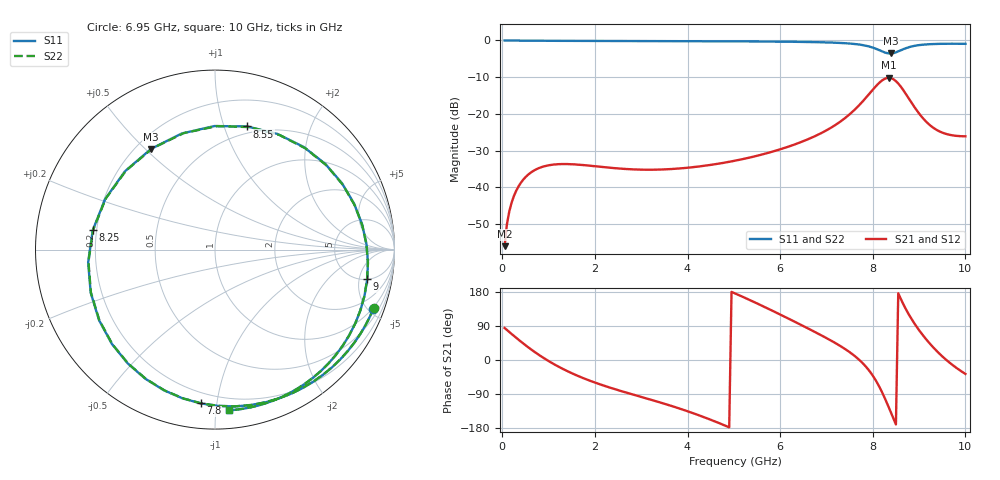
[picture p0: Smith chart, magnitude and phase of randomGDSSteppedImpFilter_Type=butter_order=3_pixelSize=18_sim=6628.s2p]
! freq	dB(S11)	phase(S11)	dB(S12)	phase(S12)
!  dB(S21)	phase(S21)	dB(S22)	phase(S22)
!S-par simulation data
#  GHz  S  DB  R 50
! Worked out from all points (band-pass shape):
!   200 points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, 50 MHz to 10 GHz, reference 50 ohm
!   highest |S21| = -10.18 dB at 8.35 GHz (marker M1); lowest = -56.0 dB at 50 MHz (marker M2)
!   |S21| within 3 dB of the highest: 8.017 GHz to 8.64 GHz (622.6 MHz wide, 7.48 % of centre)
!   lowest |S11| = -3.5 dB at 8.4 GHz (marker M3), VSWR 4.96, Z = 13 + j26 ohm
!   |S11| at or under -10 dB: nowhere
!   |S22| runs from -3.6 to 0.0 dB; largest |S21 - S12| = 0
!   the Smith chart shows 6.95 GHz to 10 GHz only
!   S11 on the Smith chart (normalised r, x): 6.95 GHz: 0.92, -5.39; 7.8 GHz: 0.14, -0.90; 8.25 GHz: 0.18, +0.08; 8.55 GHz: 0.43, +1.20; 9 GHz: 5.01, -6.55; 10 GHz: 0.12, -1.09
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0.05  -0.01 -5.4  -55.98 84.5  -55.98 84.5  -0.01 -5.4
0.2  -0.03 -21.1  -44.17 68.8  -44.17 68.8  -0.03 -21.1
0.5  -0.06 -51.0  -37.21 39.1  -37.21 39.1  -0.06 -51.0
1  -0.10 -93.6  -33.98 -2.8  -33.98 -2.8  -0.10 -93.6
1.75  -0.12 -141.3  -33.91 -47.9  -33.91 -47.9  -0.12 -141.3
2.5  -0.13 -177.1  -34.83 -79.5  -34.83 -79.5  -0.13 -177.1
3.4  -0.16 146.2  -35.14 -111.7  -35.14 -111.7  -0.16 146.2
5.05  -0.24 78.7  -32.66 174.4  -32.66 174.4  -0.24 78.9
5.85  -0.31 41.2  -30.20 129.0  -30.20 129.0  -0.31 41.5
6.7  -0.45 -4.9  -26.34 77.2  -26.34 77.2  -0.44 -4.5
6.95  -0.52 -20.4  -24.80 61.2  -24.80 61.2  -0.52 -20.1
7.4  -0.75 -53.4  -21.14 29.1  -21.14 29.1  -0.75 -53.0
7.8  -1.31 -95.3  -16.34 -10.7  -16.34 -10.7  -1.31 -95.0
8  -1.95 -127.4  -13.42 -41.3  -13.42 -41.3  -1.95 -127.2
8.25  -3.23 171.0  -10.49 -98.0  -10.49 -98.0  -3.25 170.6
8.35  -3.55 139.1  -10.18 -126.2  -10.18 -126.2  -3.57 138.3
8.4  -3.55 122.5  -10.29 -140.9  -10.29 -140.9  -3.57 121.5
8.55  -2.99 75.4  -11.72 175.9  -11.72 175.9  -2.99 74.3
8.75  -1.96 27.6  -15.26 126.3  -15.26 126.3  -1.95 26.7
9  -1.27 -11.1  -19.88 78.6  -19.88 78.6  -1.26 -11.7
9.45  -0.93 -52.5  -24.80 15.4  -24.80 15.4  -0.93 -52.7
10  -0.92 -85.0  -26.09 -36.8  -26.09 -36.8  -0.92 -85.1
